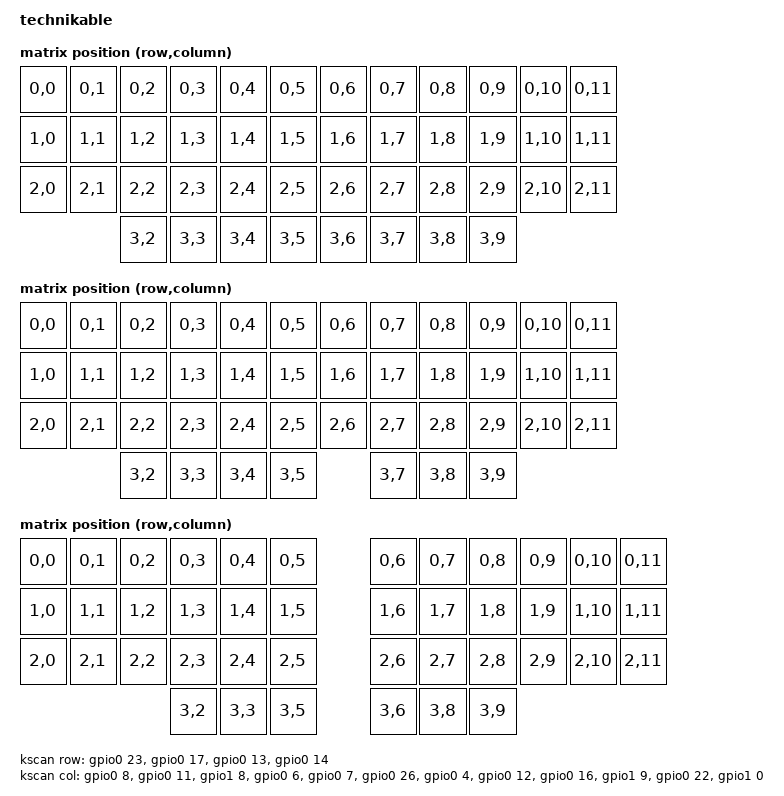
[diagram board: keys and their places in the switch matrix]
/*
 * Copyright (c) 2022 Pete Johanson
 *
 * SPDX-License-Identifier: MIT
 */

/dts-v1/;
#include <nordic/nrf52840_qiaa.dtsi>
#include <dt-bindings/zmk/matrix_transform.h>

/ {
	model = "technikable";
	compatible = "petejohanson,technikable";

	chosen {
		zephyr,code-partition = &code_partition;
		zephyr,sram = &sram0;
		zephyr,flash = &flash0;
		zmk,kscan = &kscan;
		zmk,matrix_transform = &ortho_transform;
		zmk,battery = &vbatt;
		zephyr,console = &cdc_acm_uart0;
	};

	aliases {
		led0 = &blue_led;
	};

	leds {
		compatible = "gpio-leds";
		blue_led: led_0 {
			gpios = <&gpio1 2 GPIO_ACTIVE_HIGH>;
			label = "Blue LED";
		};
	};

	vbatt: vbatt {
		compatible = "zmk,battery-nrf-vddh";
		label = "BATTERY";
	};

	ortho_transform: ortho_transform {
		compatible = "zmk,matrix-transform";
		rows = <4>;
		columns = <12>;

		map = <
	RC(0,0) RC(0,1) RC(0,2) RC(0,3) RC(0,4) RC(0,5) RC(0,6) RC(0,7) RC(0,8) RC(0,9) RC(0,10) RC(0,11)
	RC(1,0) RC(1,1) RC(1,2) RC(1,3) RC(1,4) RC(1,5) RC(1,6) RC(1,7) RC(1,8) RC(1,9) RC(1,10) RC(1,11)
	RC(2,0) RC(2,1) RC(2,2) RC(2,3) RC(2,4) RC(2,5) RC(2,6) RC(2,7) RC(2,8) RC(2,9) RC(2,10) RC(2,11)
	                RC(3,2) RC(3,3) RC(3,4) RC(3,5) RC(3,6) RC(3,7) RC(3,8) RC(3,9)
	>;
	};

	mit_transform: mit_transform {
		compatible = "zmk,matrix-transform";
		rows = <4>;
		columns = <12>;

		map = <
	RC(0,0) RC(0,1) RC(0,2) RC(0,3) RC(0,4) RC(0,5) RC(0,6) RC(0,7) RC(0,8) RC(0,9) RC(0,10) RC(0,11)
	RC(1,0) RC(1,1) RC(1,2) RC(1,3) RC(1,4) RC(1,5) RC(1,6) RC(1,7) RC(1,8) RC(1,9) RC(1,10) RC(1,11)
	RC(2,0) RC(2,1) RC(2,2) RC(2,3) RC(2,4) RC(2,5) RC(2,6) RC(2,7) RC(2,8) RC(2,9) RC(2,10) RC(2,11)
	                RC(3,2) RC(3,3) RC(3,4)     RC(3,5)     RC(3,7) RC(3,8) RC(3,9)
	>;
	};

	dual_2u_transform: dual_2u_transform {
		compatible = "zmk,matrix-transform";
		rows = <4>;
		columns = <12>;

		map = <
	RC(0,0) RC(0,1) RC(0,2) RC(0,3) RC(0,4) RC(0,5) RC(0,6) RC(0,7) RC(0,8) RC(0,9) RC(0,10) RC(0,11)
	RC(1,0) RC(1,1) RC(1,2) RC(1,3) RC(1,4) RC(1,5) RC(1,6) RC(1,7) RC(1,8) RC(1,9) RC(1,10) RC(1,11)
	RC(2,0) RC(2,1) RC(2,2) RC(2,3) RC(2,4) RC(2,5) RC(2,6) RC(2,7) RC(2,8) RC(2,9) RC(2,10) RC(2,11)
	                RC(3,2) RC(3,3)     RC(3,5)         RC(3,6)     RC(3,8) RC(3,9)
	>;
	};
	
	kscan: kscan {
		compatible = "zmk,kscan-gpio-matrix";
		label = "KSCAN";
		debounce-press-ms = <1>;
		debounce-release-ms = <5>;

		diode-direction = "col2row";

		col-gpios
			= <&gpio0 8 (GPIO_ACTIVE_HIGH)>
			, <&gpio0 11 (GPIO_ACTIVE_HIGH)>
			, <&gpio1 8 (GPIO_ACTIVE_HIGH)>
			, <&gpio0 6 (GPIO_ACTIVE_HIGH)>
			, <&gpio0 7 (GPIO_ACTIVE_HIGH)>
			, <&gpio0 26 (GPIO_ACTIVE_HIGH)>
			, <&gpio0 4 (GPIO_ACTIVE_HIGH)>
			, <&gpio0 12 (GPIO_ACTIVE_HIGH)>
			, <&gpio0 16 (GPIO_ACTIVE_HIGH)>
			, <&gpio1 9 (GPIO_ACTIVE_HIGH)>
			, <&gpio0 22 (GPIO_ACTIVE_HIGH)>
			, <&gpio1 0 (GPIO_ACTIVE_HIGH)>
			;
		row-gpios
			= <&gpio0 23  (GPIO_ACTIVE_HIGH | GPIO_PULL_DOWN)>
			, <&gpio0 17  (GPIO_ACTIVE_HIGH | GPIO_PULL_DOWN)>
			, <&gpio0 13 (GPIO_ACTIVE_HIGH | GPIO_PULL_DOWN)>
			, <&gpio0 14 (GPIO_ACTIVE_HIGH | GPIO_PULL_DOWN)>
			;
	};
};

&adc {
	status = "okay";
};

&gpiote {
	status = "okay";
};

&gpio0 {
	status = "okay";
};

&gpio1 {
	status = "okay";
};


&usbd {
	status = "okay";
	cdc_acm_uart0: cdc_acm_uart0 {
		compatible = "zephyr,cdc-acm-uart";
		label = "CDC_ACM_0";
	};
}; 


&flash0 {
	/*
	 * For more information, see:
	 * http://docs.zephyrproject.org/latest/devices/dts/flash_partitions.html
	 */
	partitions {
		compatible = "fixed-partitions";
		#address-cells = <1>;
		#size-cells = <1>;

		sd_partition: partition@0 {
			label = "mbr";
			reg = <0x00000000 0x00001000>;
		};
		code_partition: partition@1000 {
			label = "code_partition";
			reg = <0x00001000 0x000d3000>;
		};

		storage_partition: partition@d4000 {
			label = "storage";
			reg = <0x000d4000 0x00020000>;
		};

		boot_partition: partition@f4000 {
			label = "adafruit_boot";
			reg = <0x000f4000 0x0000c000>;
		};
	};
};
